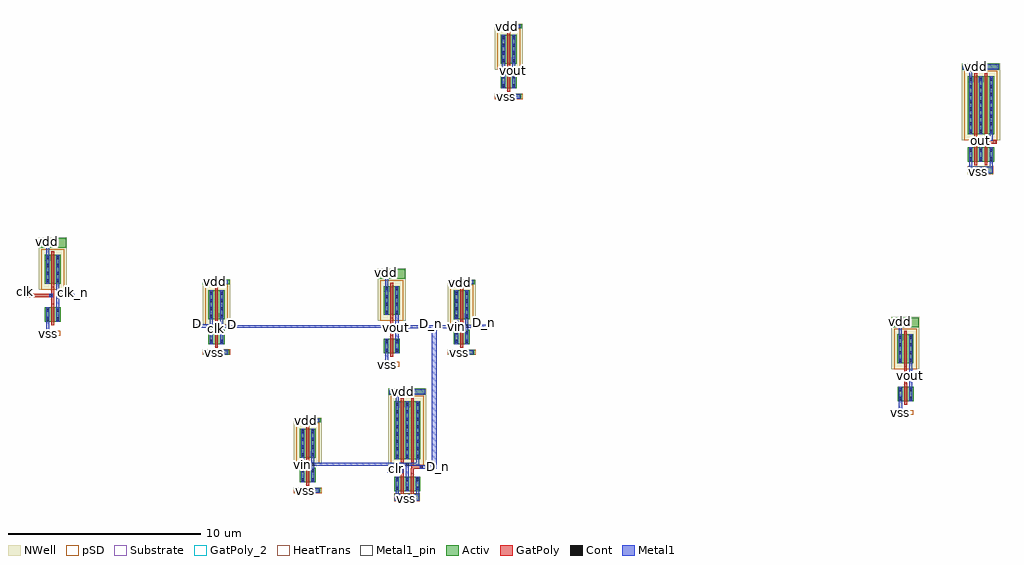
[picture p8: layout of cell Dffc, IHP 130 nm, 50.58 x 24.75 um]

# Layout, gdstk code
from math import pi, radians
import gdstk
lib = gdstk.Library(unit=1e-6, precision=1e-09)
def R(c, l, rs):  # rectangles x0, y0, x1, y1
    for r in rs: c.add(gdstk.rectangle(r[:2], r[2:], *l))
def A(c, l, x, y, w, h, nx, ny, dx, dy):  # array of equal rectangles
    R(c, l, [(x+i*dx, y+j*dy, x+i*dx+w, y+j*dy+h) for i in range(nx) for j in range(ny)])
def P(c, l, *ps):  # polygons
    for p in ps: c.add(gdstk.Polygon(p, *l))
Activ = (1, 0)
GatPoly = (5, 0)
GatPoly_2 = (5, 2)
Cont = (6, 0)
Metal1 = (8, 0)
Metal1_pin = (8, 2)
pSD = (14, 0)
NWell = (31, 0)
Substrate = (40, 0)
HeatTrans = (51, 0)

pmos_1_1 = lib.new_cell('pmos$1$1')
R(pmos_1_1, Activ, [(0,0,0.3,0.3), (0,0,0.83,3), (0.53,0,0.83,0.3)])
R(pmos_1_1, GatPoly, [(0.34,-0.18,0.49,3.18), (0.34,-0.18,0.49,3.18)])
A(pmos_1_1, Cont, 0.07, 0.07, 0.16, 0.16, 1, 7, 0, 0.385)
A(pmos_1_1, Cont, 0.6, 0.07, 0.16, 0.16, 1, 7, 0, 0.385)
R(pmos_1_1, Cont, [(0.07,2.77,0.23,2.93), (0.6,2.77,0.76,2.93)])
R(pmos_1_1, Metal1, [(0.07,0,0.23,3), (0.07,0,0.23,3), (0.6,0,0.76,3), (0.6,0,0.76,3)])
R(pmos_1_1, pSD, [(-0.18,-0.3,1.01,3.3)])
R(pmos_1_1, NWell, [(-0.31,-0.31,1.14,3.31)])
R(pmos_1_1, Substrate, [(0.53,0,0.83,0.3)])
R(pmos_1_1, HeatTrans, [(0.34,-0.18,0.49,3.18)])
pmos_1_1.add(gdstk.Label('pmos', (0.415,1.5), layer=63, texttype=0))
pmos_1_1.add(gdstk.Label('pmos', (0.415,1.5), layer=51, texttype=0))

nmos_1_1 = lib.new_cell('nmos$1$1')
R(nmos_1_1, Activ, [(0.002,0.22,0.302,0.52), (0.002,0.22,0.832,0.97), (0.532,0.22,0.832,0.52)])
R(nmos_1_1, GatPoly, [(0.342,0.04,0.492,1.15)])
R(nmos_1_1, GatPoly_2, [(0.342,0.04,0.492,1.15)])
R(nmos_1_1, Cont, [(0.072,0.29,0.232,0.45), (0.602,0.29,0.762,0.45), (0.072,0.74,0.232,0.9), (0.602,0.74,0.762,0.9)])
R(nmos_1_1, Metal1, [(0.072,0.22,0.232,0.97), (0.602,0.22,0.762,0.97)])
R(nmos_1_1, Metal1_pin, [(0.072,0.22,0.232,0.97), (0.602,0.22,0.762,0.97)])
R(nmos_1_1, HeatTrans, [(0.342,0.04,0.492,1.15)])
nmos_1_1.add(gdstk.Label('nmos', (0.417,0.595), layer=63, texttype=0))
nmos_1_1.add(gdstk.Label('nmos', (0.417,0.595), layer=51, texttype=0))

nmos_1_3 = lib.new_cell('nmos$1$3')
R(nmos_1_3, Activ, [(0,0,0.3,0.3), (0,0,0.83,0.75), (0.53,0,0.83,0.3)])
R(nmos_1_3, GatPoly, [(0.34,-0.18,0.49,0.93)])
R(nmos_1_3, GatPoly_2, [(0.34,-0.18,0.49,0.93)])
R(nmos_1_3, Cont, [(0.07,0.07,0.23,0.23), (0.6,0.07,0.76,0.23), (0.07,0.52,0.23,0.68), (0.6,0.52,0.76,0.68)])
R(nmos_1_3, Metal1, [(0.07,0,0.23,0.75), (0.6,0,0.76,0.75)])
R(nmos_1_3, Metal1_pin, [(0.07,0,0.23,0.75), (0.6,0,0.76,0.75)])
R(nmos_1_3, HeatTrans, [(0.34,-0.18,0.49,0.93)])
nmos_1_3.add(gdstk.Label('nmos', (0.415,0.375), layer=63, texttype=0))
nmos_1_3.add(gdstk.Label('nmos', (0.415,0.375), layer=51, texttype=0))

pmos_1_3 = lib.new_cell('pmos$1$3')
R(pmos_1_3, Activ, [(0,0,0.3,0.3), (0,0,0.83,1.5), (0.53,0,0.83,0.3)])
R(pmos_1_3, GatPoly, [(0.34,-0.18,0.49,1.68), (0.34,-0.18,0.49,1.68)])
A(pmos_1_3, Cont, 0.07, 0.07, 0.16, 0.16, 1, 4, 0, 0.4)
A(pmos_1_3, Cont, 0.6, 0.07, 0.16, 0.16, 1, 4, 0, 0.4)
R(pmos_1_3, Metal1, [(0.07,0,0.23,1.5), (0.07,0,0.23,1.5), (0.6,0,0.76,1.5), (0.6,0,0.76,1.5)])
R(pmos_1_3, pSD, [(-0.18,-0.3,1.01,1.8)])
R(pmos_1_3, NWell, [(-0.31,-0.31,1.14,1.81)])
R(pmos_1_3, Substrate, [(0.53,0,0.83,0.3)])
R(pmos_1_3, HeatTrans, [(0.34,-0.18,0.49,1.68)])
pmos_1_3.add(gdstk.Label('pmos', (0.415,0.75), layer=63, texttype=0))
pmos_1_3.add(gdstk.Label('pmos', (0.415,0.75), layer=51, texttype=0))

nmos_1_3_1 = lib.new_cell('nmos$1$3$1')
R(nmos_1_3_1, Activ, [(0,0,0.3,0.3), (0,0,0.83,0.75), (0.53,0,0.83,0.3)])
R(nmos_1_3_1, GatPoly, [(0.34,-0.18,0.49,0.93)])
R(nmos_1_3_1, GatPoly_2, [(0.34,-0.18,0.49,0.93)])
R(nmos_1_3_1, Cont, [(0.07,0.07,0.23,0.23), (0.6,0.07,0.76,0.23), (0.07,0.52,0.23,0.68), (0.6,0.52,0.76,0.68)])
R(nmos_1_3_1, Metal1, [(0.07,0,0.23,0.75), (0.6,0,0.76,0.75)])
R(nmos_1_3_1, Metal1_pin, [(0.07,0,0.23,0.75), (0.6,0,0.76,0.75)])
R(nmos_1_3_1, HeatTrans, [(0.34,-0.18,0.49,0.93)])
nmos_1_3_1.add(gdstk.Label('nmos', (0.415,0.375), layer=63, texttype=0))
nmos_1_3_1.add(gdstk.Label('nmos', (0.415,0.375), layer=51, texttype=0))

pmos_1_3_1 = lib.new_cell('pmos$1$3$1')
R(pmos_1_3_1, Activ, [(0,0,0.3,0.3), (0,0,0.83,1.5), (0.53,0,0.83,0.3)])
R(pmos_1_3_1, GatPoly, [(0.34,-0.18,0.49,1.68), (0.34,-0.18,0.49,1.68)])
A(pmos_1_3_1, Cont, 0.07, 0.07, 0.16, 0.16, 1, 4, 0, 0.4)
A(pmos_1_3_1, Cont, 0.6, 0.07, 0.16, 0.16, 1, 4, 0, 0.4)
R(pmos_1_3_1, Metal1, [(0.07,0,0.23,1.5), (0.07,0,0.23,1.5), (0.6,0,0.76,1.5), (0.6,0,0.76,1.5)])
R(pmos_1_3_1, pSD, [(-0.18,-0.3,1.01,1.8)])
R(pmos_1_3_1, NWell, [(-0.31,-0.31,1.14,1.81)])
R(pmos_1_3_1, Substrate, [(0.53,0,0.83,0.3)])
R(pmos_1_3_1, HeatTrans, [(0.34,-0.18,0.49,1.68)])
pmos_1_3_1.add(gdstk.Label('pmos', (0.415,0.75), layer=63, texttype=0))
pmos_1_3_1.add(gdstk.Label('pmos', (0.415,0.75), layer=51, texttype=0))

nmos_1_3_1_1 = lib.new_cell('nmos$1$3$1$1')
R(nmos_1_3_1_1, Activ, [(5.014,-1.666,5.314,-1.366), (5.014,-1.666,5.844,-0.916), (5.544,-1.666,5.844,-1.366)])
R(nmos_1_3_1_1, GatPoly, [(5.354,-1.846,5.504,-0.736)])
R(nmos_1_3_1_1, GatPoly_2, [(5.354,-1.846,5.504,-0.736)])
R(nmos_1_3_1_1, Cont, [(5.084,-1.596,5.244,-1.436), (5.614,-1.596,5.774,-1.436), (5.084,-1.146,5.244,-0.986), (5.614,-1.146,5.774,-0.986)])
R(nmos_1_3_1_1, Metal1, [(5.084,-1.666,5.244,-0.916), (5.614,-1.666,5.774,-0.916)])
R(nmos_1_3_1_1, Metal1_pin, [(5.084,-1.666,5.244,-0.916), (5.614,-1.666,5.774,-0.916)])
R(nmos_1_3_1_1, HeatTrans, [(5.354,-1.846,5.504,-0.736)])
nmos_1_3_1_1.add(gdstk.Label('nmos', (5.429,-1.291), layer=63, texttype=0))
nmos_1_3_1_1.add(gdstk.Label('nmos', (5.429,-1.291), layer=51, texttype=0))

pmos_1_3_1_1 = lib.new_cell('pmos$1$3$1$1')
R(pmos_1_3_1_1, Activ, [(5.014,-1.666,5.314,-1.366), (5.014,-1.666,5.844,-0.166), (5.544,-1.666,5.844,-1.366)])
R(pmos_1_3_1_1, GatPoly, [(5.354,-1.846,5.504,0.014), (5.354,-1.846,5.504,0.014)])
A(pmos_1_3_1_1, Cont, 5.084, -1.596, 0.16, 0.16, 1, 4, 0, 0.4)
A(pmos_1_3_1_1, Cont, 5.614, -1.596, 0.16, 0.16, 1, 4, 0, 0.4)
R(pmos_1_3_1_1, Metal1, [(5.084,-1.666,5.244,-0.166), (5.084,-1.666,5.244,-0.166), (5.614,-1.666,5.774,-0.166), (5.614,-1.666,5.774,-0.166)])
R(pmos_1_3_1_1, pSD, [(4.834,-1.966,6.024,0.134)])
R(pmos_1_3_1_1, NWell, [(4.704,-1.976,6.154,0.144)])
R(pmos_1_3_1_1, Substrate, [(5.544,-1.666,5.844,-1.366)])
R(pmos_1_3_1_1, HeatTrans, [(5.354,-1.846,5.504,0.014)])
pmos_1_3_1_1.add(gdstk.Label('pmos', (5.429,-0.916), layer=63, texttype=0))
pmos_1_3_1_1.add(gdstk.Label('pmos', (5.429,-0.916), layer=51, texttype=0))

nmos_3_1_1 = lib.new_cell('nmos$3$1$1')
R(nmos_3_1_1, Activ, [(0,0,0.3,0.3), (0,0,0.83,0.75), (0.53,0,0.83,0.3)])
R(nmos_3_1_1, GatPoly, [(0.34,-0.18,0.49,0.93)])
R(nmos_3_1_1, GatPoly_2, [(0.34,-0.18,0.49,0.93)])
R(nmos_3_1_1, Cont, [(0.07,0.07,0.23,0.23), (0.6,0.07,0.76,0.23), (0.07,0.52,0.23,0.68), (0.6,0.52,0.76,0.68)])
R(nmos_3_1_1, Metal1, [(0.07,0,0.23,0.75), (0.6,0,0.76,0.75)])
R(nmos_3_1_1, Metal1_pin, [(0.07,0,0.23,0.75), (0.6,0,0.76,0.75)])
R(nmos_3_1_1, HeatTrans, [(0.34,-0.18,0.49,0.93)])
nmos_3_1_1.add(gdstk.Label('nmos', (0.415,0.375), layer=63, texttype=0))
nmos_3_1_1.add(gdstk.Label('nmos', (0.415,0.375), layer=51, texttype=0))

pmos_3_1_1 = lib.new_cell('pmos$3$1$1')
R(pmos_3_1_1, Activ, [(0,0,0.3,0.3), (0,0,0.83,1.5), (0.53,0,0.83,0.3)])
R(pmos_3_1_1, GatPoly, [(0.34,-0.18,0.49,1.68), (0.34,-0.18,0.49,1.68)])
A(pmos_3_1_1, Cont, 0.07, 0.07, 0.16, 0.16, 1, 4, 0, 0.4)
A(pmos_3_1_1, Cont, 0.6, 0.07, 0.16, 0.16, 1, 4, 0, 0.4)
R(pmos_3_1_1, Metal1, [(0.07,0,0.23,1.5), (0.07,0,0.23,1.5), (0.6,0,0.76,1.5), (0.6,0,0.76,1.5)])
R(pmos_3_1_1, pSD, [(-0.18,-0.3,1.01,1.8)])
R(pmos_3_1_1, NWell, [(-0.31,-0.31,1.14,1.81)])
R(pmos_3_1_1, Substrate, [(0.53,0,0.83,0.3)])
R(pmos_3_1_1, HeatTrans, [(0.34,-0.18,0.49,1.68)])
pmos_3_1_1.add(gdstk.Label('pmos', (0.415,0.75), layer=63, texttype=0))
pmos_3_1_1.add(gdstk.Label('pmos', (0.415,0.75), layer=51, texttype=0))

nmos_3_1_1_1 = lib.new_cell('nmos$3$1$1$1')
R(nmos_3_1_1_1, Activ, [(-6.16,-0.009,-5.86,0.291), (-6.16,-0.009,-5.33,0.741), (-5.63,-0.009,-5.33,0.291)])
R(nmos_3_1_1_1, GatPoly, [(-5.82,-0.189,-5.67,0.921)])
R(nmos_3_1_1_1, GatPoly_2, [(-5.82,-0.189,-5.67,0.921)])
R(nmos_3_1_1_1, Cont, [(-6.09,0.061,-5.93,0.221), (-5.56,0.061,-5.4,0.221), (-6.09,0.511,-5.93,0.671), (-5.56,0.511,-5.4,0.671)])
R(nmos_3_1_1_1, Metal1, [(-6.09,-0.009,-5.93,0.741), (-5.56,-0.009,-5.4,0.741)])
R(nmos_3_1_1_1, Metal1_pin, [(-6.09,-0.009,-5.93,0.741), (-5.56,-0.009,-5.4,0.741)])
R(nmos_3_1_1_1, HeatTrans, [(-5.82,-0.189,-5.67,0.921)])
nmos_3_1_1_1.add(gdstk.Label('nmos', (-5.745,0.366), layer=63, texttype=0))
nmos_3_1_1_1.add(gdstk.Label('nmos', (-5.745,0.366), layer=51, texttype=0))

pmos_3_1_1_1 = lib.new_cell('pmos$3$1$1$1')
R(pmos_3_1_1_1, Activ, [(-6.16,-0.009,-5.86,0.291), (-6.16,-0.009,-5.33,1.491), (-5.63,-0.009,-5.33,0.291)])
R(pmos_3_1_1_1, GatPoly, [(-5.82,-0.189,-5.67,1.671), (-5.82,-0.189,-5.67,1.671)])
A(pmos_3_1_1_1, Cont, -6.09, 0.061, 0.16, 0.16, 1, 4, 0, 0.4)
A(pmos_3_1_1_1, Cont, -5.56, 0.061, 0.16, 0.16, 1, 4, 0, 0.4)
R(pmos_3_1_1_1, Metal1, [(-6.09,-0.009,-5.93,1.491), (-6.09,-0.009,-5.93,1.491), (-5.56,-0.009,-5.4,1.491), (-5.56,-0.009,-5.4,1.491)])
R(pmos_3_1_1_1, pSD, [(-6.34,-0.309,-5.15,1.791)])
R(pmos_3_1_1_1, NWell, [(-6.47,-0.319,-5.02,1.801)])
R(pmos_3_1_1_1, Substrate, [(-5.63,-0.009,-5.33,0.291)])
R(pmos_3_1_1_1, HeatTrans, [(-5.82,-0.189,-5.67,1.671)])
pmos_3_1_1_1.add(gdstk.Label('pmos', (-5.745,0.741), layer=63, texttype=0))
pmos_3_1_1_1.add(gdstk.Label('pmos', (-5.745,0.741), layer=51, texttype=0))

pmos_1_1_1 = lib.new_cell('pmos$1$1$1')
R(pmos_1_1_1, Activ, [(0,0,0.3,0.3), (0,0,0.83,3), (0.53,0,0.83,0.3)])
R(pmos_1_1_1, GatPoly, [(0.34,-0.18,0.49,3.18), (0.34,-0.18,0.49,3.18)])
A(pmos_1_1_1, Cont, 0.07, 0.07, 0.16, 0.16, 1, 7, 0, 0.385)
A(pmos_1_1_1, Cont, 0.6, 0.07, 0.16, 0.16, 1, 7, 0, 0.385)
R(pmos_1_1_1, Cont, [(0.07,2.77,0.23,2.93), (0.6,2.77,0.76,2.93)])
R(pmos_1_1_1, Metal1, [(0.07,0,0.23,3), (0.07,0,0.23,3), (0.6,0,0.76,3), (0.6,0,0.76,3)])
R(pmos_1_1_1, pSD, [(-0.18,-0.3,1.01,3.3)])
R(pmos_1_1_1, NWell, [(-0.31,-0.31,1.14,3.31)])
R(pmos_1_1_1, Substrate, [(0.53,0,0.83,0.3)])
R(pmos_1_1_1, HeatTrans, [(0.34,-0.18,0.49,3.18)])
pmos_1_1_1.add(gdstk.Label('pmos', (0.415,1.5), layer=63, texttype=0))
pmos_1_1_1.add(gdstk.Label('pmos', (0.415,1.5), layer=51, texttype=0))

nmos_1_1_1 = lib.new_cell('nmos$1$1$1')
R(nmos_1_1_1, Activ, [(0,0,0.3,0.3), (0,0,0.83,0.75), (0.53,0,0.83,0.3)])
R(nmos_1_1_1, GatPoly, [(0.34,-0.18,0.49,0.93)])
R(nmos_1_1_1, GatPoly_2, [(0.34,-0.18,0.49,0.93)])
R(nmos_1_1_1, Cont, [(0.07,0.07,0.23,0.23), (0.6,0.07,0.76,0.23), (0.07,0.52,0.23,0.68), (0.6,0.52,0.76,0.68)])
R(nmos_1_1_1, Metal1, [(0.07,0,0.23,0.75), (0.6,0,0.76,0.75)])
R(nmos_1_1_1, Metal1_pin, [(0.07,0,0.23,0.75), (0.6,0,0.76,0.75)])
R(nmos_1_1_1, HeatTrans, [(0.34,-0.18,0.49,0.93)])
nmos_1_1_1.add(gdstk.Label('nmos', (0.415,0.375), layer=63, texttype=0))
nmos_1_1_1.add(gdstk.Label('nmos', (0.415,0.375), layer=51, texttype=0))

pmos_3 = lib.new_cell('pmos$3')
R(pmos_3, Activ, [(0,0,0.3,0.3), (0,0,0.83,1.5), (0.53,0,0.83,0.3)])
R(pmos_3, GatPoly, [(0.34,-0.18,0.49,1.68), (0.34,-0.18,0.49,1.68)])
A(pmos_3, Cont, 0.07, 0.07, 0.16, 0.16, 1, 4, 0, 0.4)
A(pmos_3, Cont, 0.6, 0.07, 0.16, 0.16, 1, 4, 0, 0.4)
R(pmos_3, Metal1, [(0.07,0,0.23,1.5), (0.07,0,0.23,1.5), (0.6,0,0.76,1.5), (0.6,0,0.76,1.5)])
R(pmos_3, pSD, [(-0.18,-0.3,1.01,1.8)])
R(pmos_3, NWell, [(-0.31,-0.31,1.14,1.81)])
R(pmos_3, Substrate, [(0.53,0,0.83,0.3)])
R(pmos_3, HeatTrans, [(0.34,-0.18,0.49,1.68)])
pmos_3.add(gdstk.Label('pmos', (0.415,0.75), layer=63, texttype=0))
pmos_3.add(gdstk.Label('pmos', (0.415,0.75), layer=51, texttype=0))

nmos_3 = lib.new_cell('nmos$3')
R(nmos_3, Activ, [(0,0,0.3,0.3), (0,0,0.83,0.75), (0.53,0,0.83,0.3)])
R(nmos_3, GatPoly, [(0.34,-0.18,0.49,0.93)])
R(nmos_3, GatPoly_2, [(0.34,-0.18,0.49,0.93)])
R(nmos_3, Cont, [(0.07,0.07,0.23,0.23), (0.6,0.07,0.76,0.23), (0.07,0.52,0.23,0.68), (0.6,0.52,0.76,0.68)])
R(nmos_3, Metal1, [(0.07,0,0.23,0.75), (0.6,0,0.76,0.75)])
R(nmos_3, Metal1_pin, [(0.07,0,0.23,0.75), (0.6,0,0.76,0.75)])
R(nmos_3, HeatTrans, [(0.34,-0.18,0.49,0.93)])
nmos_3.add(gdstk.Label('nmos', (0.415,0.375), layer=63, texttype=0))
nmos_3.add(gdstk.Label('nmos', (0.415,0.375), layer=51, texttype=0))

pmos_3_1 = lib.new_cell('pmos$3$1')
R(pmos_3_1, Activ, [(-10.251,-14.771,-9.951,-14.471), (-10.251,-14.771,-9.421,-13.271), (-9.721,-14.771,-9.421,-14.471)])
R(pmos_3_1, GatPoly, [(-9.911,-14.951,-9.761,-13.091), (-9.911,-14.951,-9.761,-13.091)])
A(pmos_3_1, Cont, -10.181, -14.701, 0.16, 0.16, 1, 4, 0, 0.4)
A(pmos_3_1, Cont, -9.651, -14.701, 0.16, 0.16, 1, 4, 0, 0.4)
R(pmos_3_1, Metal1, [(-10.181,-14.771,-10.021,-13.271), (-10.181,-14.771,-10.021,-13.271), (-9.651,-14.771,-9.491,-13.271), (-9.651,-14.771,-9.491,-13.271)])
R(pmos_3_1, pSD, [(-10.431,-15.071,-9.241,-12.971)])
R(pmos_3_1, NWell, [(-10.561,-15.081,-9.111,-12.961)])
R(pmos_3_1, Substrate, [(-9.721,-14.771,-9.421,-14.471)])
R(pmos_3_1, HeatTrans, [(-9.911,-14.951,-9.761,-13.091)])
pmos_3_1.add(gdstk.Label('pmos', (-9.836,-14.021), layer=63, texttype=0))
pmos_3_1.add(gdstk.Label('pmos', (-9.836,-14.021), layer=51, texttype=0))

nmos_3_1 = lib.new_cell('nmos$3$1')
R(nmos_3_1, Activ, [(-10.251,-14.771,-9.951,-14.471), (-10.251,-14.771,-9.421,-14.021), (-9.721,-14.771,-9.421,-14.471)])
R(nmos_3_1, GatPoly, [(-9.911,-14.951,-9.761,-13.841)])
R(nmos_3_1, GatPoly_2, [(-9.911,-14.951,-9.761,-13.841)])
R(nmos_3_1, Cont, [(-10.181,-14.701,-10.021,-14.541), (-9.651,-14.701,-9.491,-14.541), (-10.181,-14.251,-10.021,-14.091), (-9.651,-14.251,-9.491,-14.091)])
R(nmos_3_1, Metal1, [(-10.181,-14.771,-10.021,-14.021), (-9.651,-14.771,-9.491,-14.021)])
R(nmos_3_1, Metal1_pin, [(-10.181,-14.771,-10.021,-14.021), (-9.651,-14.771,-9.491,-14.021)])
R(nmos_3_1, HeatTrans, [(-9.911,-14.951,-9.761,-13.841)])
nmos_3_1.add(gdstk.Label('nmos', (-9.836,-14.396), layer=63, texttype=0))
nmos_3_1.add(gdstk.Label('nmos', (-9.836,-14.396), layer=51, texttype=0))

dffc = lib.new_cell('Dffc')
R(dffc, Activ, [(-4.162,-3.851,-2.877,-3.486), (-9.327,-3.438,-8.012,-3.183), (-9.367,0.212,-7.992,0.442), (21.869,0.649,22.504,0.819), (-4.461,1.649,-2.561,1.964), (-4.754,3.152,-4.119,3.322), (-1.348,3.725,-0.033,3.98), (-14.051,3.733,-12.736,3.988), (-22.323,4.767,-21.688,4.937), (21.624,5.144,23.009,5.649), (-1.388,7.375,-0.013,7.605), (-14.091,7.383,-12.716,7.613), (-4.999,7.647,-3.614,8.152), (-22.568,9.262,-21.183,9.767), (25.562,13.101,26.847,13.466), (1.089,16.979,2.404,17.234), (25.262,18.491,27.162,18.806), (1.049,20.629,2.424,20.859)])
R(dffc, GatPoly, [(22.239,2.209,22.389,3.099), (22.129,2.589,22.299,2.759), (-4.384,4.712,-4.234,5.602), (-4.494,5.092,-4.324,5.262)])
P(dffc, GatPoly, [(-3.881,-2.441),(-3.881,-2.193),(-3.846,-2.193),(-3.846,-2.006),(-3.841,-2.006),(-3.841,-1.876),(-3.691,-1.876),(-3.691,-2.421),(-3.692,-2.421),(-3.692,-2.441)],
  [(-3.312,-2.428),(-3.312,-2.178),(-3.311,-2.178),(-3.311,-1.876),(-3.161,-1.876),(-3.161,-2.006),(-2.691,-2.006),(-2.691,-2.196),(-3.162,-2.196),(-3.162,-2.428)],
  [(-21.953,6.327),(-21.953,6.704),(-23.367,6.704),(-23.367,6.894),(-21.953,6.894),(-21.953,7.217),(-21.803,7.217),(-21.803,6.327)],
  [(26.412,14.646),(26.412,14.966),(26.562,14.966),(26.562,14.836),(27.032,14.836),(27.032,14.646)],
  [(25.882,14.581),(25.882,14.671),(25.847,14.671),(25.847,14.836),(25.882,14.836),(25.882,14.966),(26.032,14.966),(26.032,14.581)])
R(dffc, GatPoly_2, [(-3.876,-2.421,-3.695,-2.198), (-2.862,-2.176,-2.702,-2.016), (-8.742,-2.118,-8.592,-1.973), (-8.742,-1.788,-8.592,-1.623), (-0.763,5.045,-0.613,5.19), (-13.466,5.053,-13.316,5.198), (-0.763,5.375,-0.613,5.54), (-13.466,5.383,-13.316,5.548), (26.867,14.666,27.022,14.826), (25.852,14.676,26.022,14.831), (1.674,18.299,1.824,18.444), (1.674,18.629,1.824,18.794)])
R(dffc, Cont, [(-3.677,-3.791,-3.467,-3.586), (-8.882,-3.393,-8.717,-3.233), (-3.867,-2.378,-3.707,-2.218), (-2.862,-2.176,-2.702,-2.016), (-9.012,-2.038,-8.852,-1.878), (-8.482,-2.038,-8.322,-1.878), (-3.581,-2.036,-3.421,-1.876), (-8.802,0.247,-8.642,0.407), (21.979,0.649,22.139,0.809), (-3.786,1.744,-3.626,1.904), (22.139,2.594,22.299,2.754), (-4.644,3.152,-4.484,3.312), (-0.903,3.77,-0.738,3.93), (-13.606,3.778,-13.441,3.938), (-22.213,4.767,-22.053,4.927), (-4.484,5.097,-4.324,5.257), (-1.033,5.125,-0.873,5.285), (-0.503,5.125,-0.343,5.285), (-13.736,5.133,-13.576,5.293), (-13.206,5.133,-13.046,5.293), (21.969,5.324,22.129,5.484), (-22.053,6.712,-21.893,6.872), (-0.823,7.41,-0.663,7.57), (-13.526,7.418,-13.366,7.578), (-4.654,7.827,-4.494,7.987), (-22.223,9.442,-22.063,9.602), (26.047,13.161,26.257,13.366), (26.142,14.806,26.302,14.966), (1.534,17.024,1.699,17.184), (1.404,18.379,1.564,18.539), (1.934,18.379,2.094,18.539), (25.937,18.586,26.097,18.746), (1.614,20.664,1.774,20.824)])
R(dffc, Metal1, [(-9.262,-3.423,-8.072,-3.203), (-4.549,-2.387,-3.706,-2.217), (-9.012,-2.173,-8.852,-1.608), (-8.482,-2.163,-8.322,-1.593), (-9.337,0.237,-8.072,0.417), (21.974,0.514,22.134,1.304), (22.499,2.029,22.664,3.279), (22.134,2.589,22.304,2.759), (-4.649,3.017,-4.489,3.807), (-1.283,3.74,-0.093,3.96), (-13.986,3.748,-12.796,3.968), (-22.218,4.632,-22.058,5.422), (21.969,4.779,22.129,5.694), (-4.489,5.092,-4.319,5.262), (-22.058,6.707,-21.888,6.877), (-4.654,7.282,-4.494,8.197), (-1.358,7.4,-0.093,7.58), (-14.061,7.408,-12.796,7.588), (-22.223,8.897,-22.063,9.812), (1.154,16.994,2.344,17.214), (1.404,18.244,1.564,18.809), (1.934,18.254,2.094,18.824), (1.079,20.654,2.344,20.834)])
P(dffc, Metal1, [(-3.581,-2.614),(-3.581,-2.036),(-8.482,-2.036),(-8.482,-1.876),(-3.051,-1.876),(-3.051,-1.696),(-2.891,-1.696),(-2.891,-2.036),(-3.421,-2.036),(-3.421,-2.614)],
  [(-13.206,4.977),(-13.206,5.602),(-13.046,5.602),(-13.046,5.262),(-4.319,5.262),(-4.319,5.131),(-13.046,5.131),(-13.046,4.977)],
  [(-21.693,6.147),(-21.693,7.397),(-21.528,7.397),(-21.528,6.887),(-20.767,6.887),(-20.767,6.685),(-21.528,6.685),(-21.528,6.147)],
  [(-4.142,-3.836),(-4.142,-3.501),(-4.112,-3.501),(-4.112,-3.236),(-3.952,-3.236),(-3.952,-3.501),(-3.052,-3.501),(-3.052,-3.236),(-2.892,-3.236),(-2.892,-3.836)],
  [(-13.736,4.998),(-13.736,5.133),(-14.441,5.133),(-14.441,5.292),(-13.736,5.292),(-13.736,5.563),(-13.576,5.563),(-13.576,4.998)],
  [(-2.862,-2.176),(-2.862,-2.016),(-2.235,-2.016),(-2.235,5.083),(-3.959,5.083),(-3.959,4.532),(-4.124,4.532),(-4.124,5.782),(-3.959,5.782),(-3.959,5.244),(-1.033,5.244),(-1.033,5.515),(-0.873,5.515),(-0.873,4.95),(-1.033,4.95),(-1.033,5.083),(-1.988,5.083),(-1.988,-2.176)],
  [(-0.503,5),(-0.503,5.57),(-0.343,5.57),(-0.343,5.285),(0.73,5.285),(0.73,5.124),(-0.343,5.124),(-0.343,5)],
  [(-4.111,1.304),(-4.111,1.669),(-4.441,1.669),(-4.441,1.939),(-2.581,1.939),(-2.581,1.669),(-3.951,1.669),(-3.951,1.304)],
  [(25.582,13.116),(25.582,13.451),(25.612,13.451),(25.612,13.716),(25.772,13.716),(25.772,13.451),(26.672,13.451),(26.672,13.716),(26.832,13.716),(26.832,13.116)],
  [(26.142,14.456),(26.142,14.966),(26.672,14.966),(26.672,15.146),(26.832,15.146),(26.832,14.806),(26.302,14.806),(26.302,14.456)],
  [(25.612,18.146),(25.612,18.511),(25.282,18.511),(25.282,18.781),(27.142,18.781),(27.142,18.511),(25.772,18.511),(25.772,18.146)],
  [(-4.649,3.807),(-4.649,3.807),(-4.489,3.807),(-4.489,3.807)],
  [(21.974,1.304),(21.974,1.304),(22.134,1.304),(22.134,1.304)],
  [(-22.218,5.422),(-22.218,5.422),(-22.058,5.422),(-22.058,5.422)])
R(dffc, Metal1_pin, [(-3.677,-3.791,-3.467,-3.586), (-8.882,-3.393,-8.717,-3.233), (-9.012,-2.073,-8.852,-1.863), (-8.482,-2.063,-8.322,-1.863), (-3.581,-2.036,-3.421,-1.876), (-8.802,0.247,-8.642,0.407), (21.974,0.644,22.134,0.819), (-3.786,1.749,-3.626,1.904), (22.499,2.514,22.664,2.769), (-4.649,3.147,-4.489,3.322), (-0.903,3.77,-0.738,3.93), (-13.606,3.778,-13.441,3.938), (-22.218,4.762,-22.058,4.937), (-4.124,5.017,-3.959,5.272), (-1.033,5.09,-0.873,5.3), (-13.736,5.098,-13.576,5.308), (-0.503,5.1,-0.343,5.3), (-13.206,5.108,-13.046,5.308), (21.969,5.209,22.129,5.614), (-21.693,6.632,-21.528,6.887), (-0.823,7.41,-0.663,7.57), (-13.526,7.418,-13.366,7.578), (-4.654,7.712,-4.494,8.117), (-22.223,9.327,-22.063,9.732), (26.047,13.161,26.257,13.366), (26.142,14.806,26.302,14.966), (1.534,17.024,1.699,17.184), (1.404,18.344,1.564,18.554), (1.934,18.354,2.094,18.554), (25.937,18.591,26.097,18.746), (1.614,20.664,1.774,20.824)])
R(dffc, pSD, [(-4.187,-3.871,-2.852,-3.466), (-9.392,-3.453,-7.942,-3.173), (21.844,0.599,22.704,0.844), (-4.779,3.102,-3.919,3.347), (-1.413,3.71,0.037,3.99), (-14.116,3.718,-12.666,3.998), (-22.348,4.717,-21.488,4.962), (25.537,13.081,26.872,13.486), (1.024,16.964,2.474,17.244)])
R(dffc, NWell, [(-9.392,0.202,-7.942,0.457), (-4.491,1.614,-2.511,1.989), (21.589,5.089,23.039,5.699), (-1.413,7.365,0.037,7.62), (-14.116,7.373,-12.666,7.628), (-5.034,7.592,-3.584,8.202), (-22.603,9.207,-21.153,9.817), (25.232,18.456,27.212,18.831), (1.024,20.619,2.474,20.874)])
dffc.add(gdstk.Reference(pmos_1_1, (-2.821,1.304), rotation=pi))
dffc.add(gdstk.Reference(nmos_1_1, (-2.821,-2.376), rotation=pi))
dffc.add(gdstk.Reference(pmos_1_1, (-3.351,1.304), rotation=pi))
dffc.add(gdstk.Reference(nmos_1_3, (-3.889,4.557), rotation=pi))
dffc.add(gdstk.Reference(pmos_1_3, (-3.894,7.282), rotation=pi))
dffc.add(gdstk.Reference(nmos_1_3_1, (22.734,2.054), rotation=pi))
dffc.add(gdstk.Reference(pmos_1_3_1, (22.729,4.779), rotation=pi))
dffc.add(gdstk.Reference(nmos_1_3_1_1, (-16.444,4.506), rotation=pi))
dffc.add(gdstk.Reference(pmos_1_3_1_1, (-16.449,7.231), rotation=pi))
dffc.add(gdstk.Reference(nmos_3_1_1, (1.334,17.519)))
dffc.add(gdstk.Reference(pmos_3_1_1, (1.334,18.809)))
dffc.add(gdstk.Reference(nmos_3_1_1_1, (-7.646,4.282)))
dffc.add(gdstk.Reference(pmos_3_1_1_1, (-7.646,5.572)))
dffc.add(gdstk.Reference(pmos_1_1_1, (26.902,18.146), rotation=pi))
dffc.add(gdstk.Reference(nmos_1_1_1, (26.372,14.466), rotation=pi))
dffc.add(gdstk.Reference(nmos_1_1_1, (26.902,14.466), rotation=pi))
dffc.add(gdstk.Reference(pmos_1_1_1, (26.372,18.146), rotation=pi))
dffc.add(gdstk.Reference(pmos_3, (-1.103,5.555)))
dffc.add(gdstk.Reference(nmos_3, (-1.103,4.265)))
dffc.add(gdstk.Reference(nmos_1_1, (-3.351,-2.376), rotation=pi))
dffc.add(gdstk.Reference(pmos_3_1, (1.169,13.163)))
dffc.add(gdstk.Reference(nmos_3_1, (1.169,11.873)))
dffc.add(gdstk.Label('clr', (-4.073,-2.19), layer=63, texttype=0))
dffc.add(gdstk.Label('D_n', (-1.861,-2.092), layer=63, texttype=0))
dffc.add(gdstk.Label('Salida_nor_abajo', (-5.223,-1.797), layer=63, texttype=0))
dffc.add(gdstk.Label('D', (-14.392,5.347), layer=63, texttype=0))
dffc.add(gdstk.Label('D', (-12.581,5.286), layer=63, texttype=0))
dffc.add(gdstk.Label('clk', (-13.378,5.078), layer=63, texttype=0))
dffc.add(gdstk.Label('clk_n', (-13.388,5.436), layer=63, texttype=0))
dffc.add(gdstk.Label('clk', (-23.293,6.991), layer=63, texttype=0))
dffc.add(gdstk.Label('clk_n', (-20.807,6.921), layer=63, texttype=0))
dffc.add(gdstk.Label('D_n', (-2.225,5.36), layer=63, texttype=0))
dffc.add(gdstk.Label('D_n', (0.507,5.396), layer=63, texttype=0))
dffc.add(gdstk.Label('vss', (-3.557,-3.716), layer=8, texttype=2))
dffc.add(gdstk.Label('vout', (-13.136,5.203), layer=8, texttype=2))
dffc.add(gdstk.Label('vin', (-13.666,5.188), layer=8, texttype=2))
dffc.add(gdstk.Label('vss', (-13.516,3.858), layer=8, texttype=2))
dffc.add(gdstk.Label('vdd', (-13.436,7.498), layer=8, texttype=2))
dffc.add(gdstk.Label('vdd', (-8.712,0.327), layer=8, texttype=2))
dffc.add(gdstk.Label('vss', (-8.792,-3.313), layer=8, texttype=2))
dffc.add(gdstk.Label('vin', (-8.942,-1.983), layer=8, texttype=2))
dffc.add(gdstk.Label('vout', (-8.412,-1.968), layer=8, texttype=2))
dffc.add(gdstk.Label('vout', (-21.643,6.767), layer=8, texttype=2))
dffc.add(gdstk.Label('vss', (-22.113,4.842), layer=8, texttype=2))
dffc.add(gdstk.Label('vdd', (-22.138,9.577), layer=8, texttype=2))
dffc.add(gdstk.Label('out', (-3.521,-2.006), layer=8, texttype=2))
dffc.add(gdstk.Label('vdd', (-3.716,1.819), layer=8, texttype=2))
dffc.add(gdstk.Label('vout', (22.549,2.649), layer=8, texttype=2))
dffc.add(gdstk.Label('vss', (22.079,0.724), layer=8, texttype=2))
dffc.add(gdstk.Label('vdd', (22.054,5.459), layer=8, texttype=2))
dffc.add(gdstk.Label('vout', (2.004,18.449), layer=8, texttype=2))
dffc.add(gdstk.Label('vin', (1.474,18.434), layer=8, texttype=2))
dffc.add(gdstk.Label('vss', (1.624,17.104), layer=8, texttype=2))
dffc.add(gdstk.Label('vdd', (1.704,20.744), layer=8, texttype=2))
dffc.add(gdstk.Label('out', (26.202,14.836), layer=8, texttype=2))
dffc.add(gdstk.Label('vss', (26.1,13.21), layer=8, texttype=2))
dffc.add(gdstk.Label('vdd', (26.007,18.661), layer=8, texttype=2))
dffc.add(gdstk.Label('vout', (-4.074,5.152), layer=8, texttype=2))
dffc.add(gdstk.Label('vss', (-4.544,3.227), layer=8, texttype=2))
dffc.add(gdstk.Label('vdd', (-4.569,7.962), layer=8, texttype=2))
dffc.add(gdstk.Label('vdd', (-0.733,7.49), layer=8, texttype=2))
dffc.add(gdstk.Label('vss', (-0.813,3.85), layer=8, texttype=2))
dffc.add(gdstk.Label('vin', (-0.963,5.18), layer=8, texttype=2))
dffc.add(gdstk.Label('vout', (-0.433,5.195), layer=8, texttype=2))
dffc.add(gdstk.Label('clr', (-3.784,-2.215), layer=5, texttype=2))
dffc.add(gdstk.Label('Entrada_N', (-13.366,5.128), layer=5, texttype=2))
dffc.add(gdstk.Label('Entrada_P', (-13.401,5.478), layer=5, texttype=2))
dffc.add(gdstk.Label('Entrada_P', (-8.677,-1.693), layer=5, texttype=2))
dffc.add(gdstk.Label('Entrada_N', (-8.642,-2.043), layer=5, texttype=2))
dffc.add(gdstk.Label('vin', (-21.978,6.782), layer=5, texttype=2))
dffc.add(gdstk.Label('D', (-2.761,-2.081), layer=5, texttype=2))
dffc.add(gdstk.Label('vin', (22.214,2.664), layer=5, texttype=2))
dffc.add(gdstk.Label('Entrada_N', (1.774,18.374), layer=5, texttype=2))
dffc.add(gdstk.Label('Entrada_P', (1.739,18.724), layer=5, texttype=2))
dffc.add(gdstk.Label('D', (26.962,14.761), layer=5, texttype=2))
dffc.add(gdstk.Label('clr', (25.932,14.751), layer=5, texttype=2))
dffc.add(gdstk.Label('vin', (-4.409,5.167), layer=5, texttype=2))
dffc.add(gdstk.Label('Entrada_P', (-0.698,5.47), layer=5, texttype=2))
dffc.add(gdstk.Label('Entrada_N', (-0.663,5.12), layer=5, texttype=2))

lib.write_gds('Dffc.gds')
